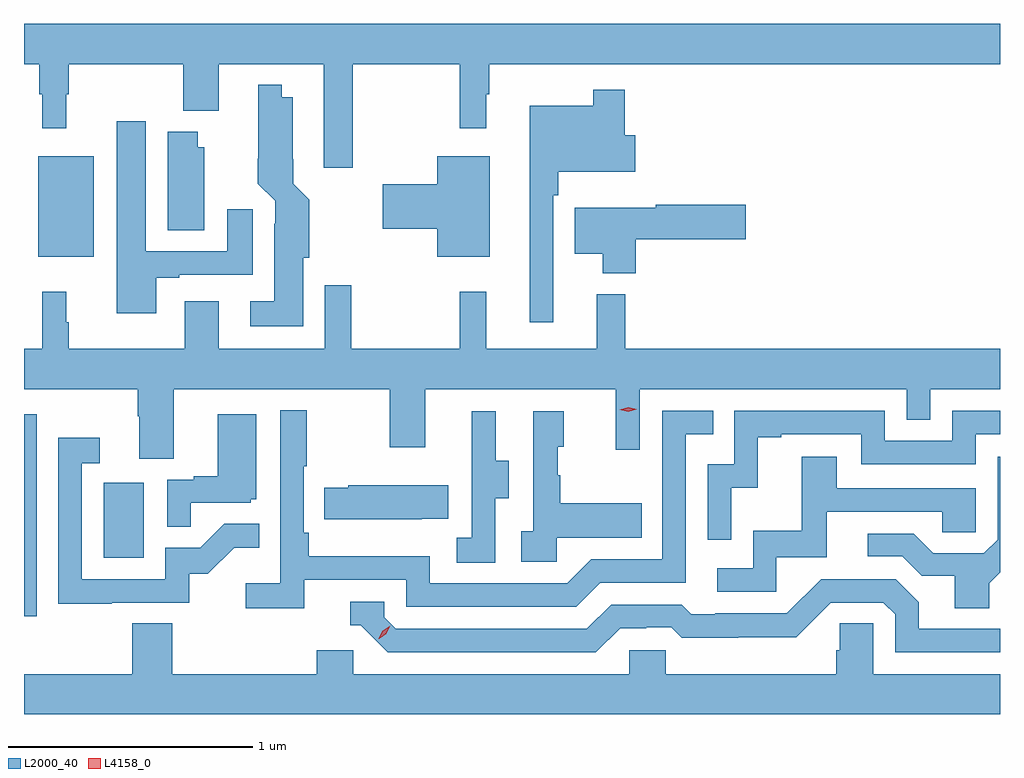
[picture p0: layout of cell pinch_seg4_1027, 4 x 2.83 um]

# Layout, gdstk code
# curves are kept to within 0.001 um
import gdstk
lib = gdstk.Library(unit=1e-6, precision=1e-09)
def R(c, l, rs):  # rectangles x0, y0, x1, y1
    for r in rs: c.add(gdstk.rectangle(r[:2], r[2:], *l))
def P(c, l, *ps):  # polygons
    for p in ps: c.add(gdstk.Polygon(p, *l))
L2000_40 = (2000, 40)
L4158_0 = (4158, 0)

pinch_seg4_1027 = lib.new_cell('pinch_seg4_1027')
R(pinch_seg4_1027, L2000_40, [(805.464,762.588,805.516,763.417), (805.79,762.828,805.954,763.135), (805.523,764.063,805.75,764.473)])
P(pinch_seg4_1027, L2000_40, [(806.811,764.852),(807.249,764.852),(807.249,764.589),(807.358,764.589),(807.358,764.729),(807.37,764.729),(807.37,764.852),(809.464,764.852),(809.464,765.016),(805.464,765.016),(805.464,764.852),(805.527,764.852),(805.527,764.729),(805.538,764.729),(805.538,764.589),(805.637,764.589),(805.637,764.729),(805.648,764.729),(805.648,764.852),(806.116,764.852),(806.116,764.66),(806.263,764.66),(806.263,764.852),(806.693,764.852),(806.693,764.427),(806.811,764.427)],
  [(806.608,764.058),(806.634,764.058),(806.634,764.295),(806.567,764.362),(806.566,764.716),(806.521,764.716),(806.521,764.767),(806.424,764.767),(806.423,764.362),(806.493,764.292),(806.493,764.198),(806.489,764.198),(806.489,763.879),(806.391,763.879),(806.391,763.778),(806.608,763.778)],
  [(807.633,764.315),(807.653,764.315),(807.653,764.411),(807.97,764.411),(807.97,764.559),(807.926,764.559),(807.926,764.746),(807.798,764.746),(807.798,764.68),(807.536,764.68),(807.536,763.794),(807.633,763.794)],
  [(806.005,763.977),(806.101,763.977),(806.101,763.989),(806.401,763.989),(806.401,764.257),(806.297,764.257),(806.297,764.085),(805.963,764.085),(805.963,764.617),(805.844,764.617),(805.844,763.83),(806.005,763.83)],
  [(806.203,764.511),(806.176,764.511),(806.176,764.575),(806.054,764.575),(806.054,764.17),(806.203,764.17)],
  [(807.373,764.473),(807.158,764.473),(807.158,764.36),(806.934,764.36),(806.934,764.177),(807.158,764.177),(807.158,764.063),(807.373,764.063)],
  [(807.971,764.134),(808.423,764.134),(808.423,764.276),(808.054,764.276),(808.054,764.263),(807.722,764.263),(807.722,764.075),(807.836,764.075),(807.836,763.994),(807.971,763.994)],
  [(807.929,763.909),(807.812,763.909),(807.812,763.684),(807.359,763.684),(807.359,763.918),(807.249,763.918),(807.249,763.684),(806.806,763.684),(806.806,763.945),(806.697,763.945),(806.697,763.684),(806.263,763.684),(806.263,763.879),(806.123,763.879),(806.123,763.684),(805.648,763.684),(805.648,763.793),(805.637,763.793),(805.637,763.918),(805.538,763.918),(805.538,763.684),(805.464,763.684),(805.464,763.52),(805.93,763.52),(805.93,763.408),(805.937,763.408),(805.937,763.234),(806.077,763.234),(806.077,763.52),(806.962,763.52),(806.962,763.281),(807.109,763.281),(807.109,763.52),(807.89,763.52),(807.89,763.272),(807.987,763.272),(807.987,763.52),(809.082,763.52),(809.082,763.393),(809.178,763.393),(809.178,763.52),(809.464,763.52),(809.464,763.684),(807.929,763.684)],
  [(806.612,762.738),(807.03,762.738),(807.03,762.627),(807.727,762.627),(807.826,762.726),(808.176,762.726),(808.176,763.335),(808.289,763.335),(808.289,763.431),(808.08,763.431),(808.08,762.822),(807.789,762.822),(807.69,762.723),(807.126,762.723),(807.126,762.835),(806.63,762.835),(806.63,762.931),(806.61,762.931),(806.61,763.204),(806.623,763.204),(806.623,763.432),(806.514,763.432),(806.514,762.724),(806.373,762.724),(806.373,762.622),(806.612,762.622)],
  [(808.362,763.115),(808.472,763.115),(808.472,763.323),(808.567,763.323),(808.567,763.335),(808.896,763.335),(808.896,763.212),(809.364,763.212),(809.364,763.335),(809.464,763.335),(809.464,763.431),(809.268,763.431),(809.268,763.308),(808.992,763.308),(808.992,763.431),(808.374,763.431),(808.374,763.212),(808.266,763.212),(808.266,762.903),(808.362,762.903)],
  [(807.648,762.911),(807.995,762.911),(807.995,763.051),(807.661,763.051),(807.661,763.166),(807.651,763.166),(807.651,763.284),(807.676,763.284),(807.676,763.429),(807.552,763.429),(807.552,762.938),(807.501,762.938),(807.501,762.813),(807.648,762.813)],
  [(807.396,763.072),(807.451,763.072),(807.451,763.227),(807.397,763.227),(807.397,763.429),(807.299,763.429),(807.299,763.215),(807.3,763.215),(807.3,762.911),(807.237,762.911),(807.237,762.808),(807.396,762.808)],
  [(806.147,763.053),(806.394,763.053),(806.394,763.068),(806.416,763.068),(806.416,763.417),(806.258,763.417),(806.258,763.162),(806.159,763.162),(806.159,763.149),(806.052,763.149),(806.052,762.955),(806.147,762.955)],
  [(805.823,762.645),(806.142,762.645),(806.142,762.762),(806.218,762.762),(806.325,762.869),(806.429,762.869),(806.429,762.968),(806.285,762.968),(806.187,762.87),(806.043,762.87),(806.043,762.741),(805.701,762.741),(805.701,763.215),(805.774,763.215),(805.774,763.321),(805.605,763.321),(805.605,762.64),(805.823,762.64)],
  [(809.419,762.724),(809.464,762.769),(809.464,763.243),(809.454,763.243),(809.454,762.903),(809.397,762.846),(809.191,762.846),(809.11,762.927),(808.923,762.927),(808.923,762.834),(809.064,762.834),(809.144,762.754),(809.279,762.754),(809.279,762.622),(809.419,762.622)],
  [(808.548,762.831),(808.753,762.831),(808.753,763.017),(809.227,763.017),(809.227,762.933),(809.364,762.933),(809.364,763.113),(808.795,763.113),(808.795,763.243),(808.651,763.243),(808.651,762.94),(808.452,762.94),(808.452,762.786),(808.305,762.786),(808.305,762.69),(808.548,762.69)],
  [(807.095,762.989),(807.203,762.989),(807.203,763.126),(806.793,763.126),(806.793,763.116),(806.695,763.116),(806.695,762.986),(807.095,762.986)],
  [(807.907,762.54),(808.014,762.54),(808.014,762.543),(808.117,762.543),(808.159,762.501),(808.392,762.501),(808.392,762.503),(808.628,762.503),(808.77,762.645),(808.986,762.645),(809.034,762.597),(809.034,762.441),(809.464,762.441),(809.464,762.537),(809.131,762.537),(809.131,762.647),(809.037,762.741),(808.731,762.741),(808.59,762.6),(808.297,762.6),(808.297,762.597),(808.198,762.597),(808.159,762.636),(807.87,762.636),(807.771,762.537),(806.988,762.537),(806.94,762.585),(806.94,762.648),(806.801,762.648),(806.801,762.552),(806.844,762.552),(806.955,762.441),(807.808,762.441)],
  [(809.464,762.352),(808.944,762.352),(808.944,762.56),(808.807,762.56),(808.807,762.45),(808.793,762.45),(808.793,762.352),(808.095,762.352),(808.095,762.45),(807.945,762.45),(807.945,762.352),(806.814,762.352),(806.814,762.45),(806.663,762.45),(806.663,762.352),(806.072,762.352),(806.072,762.56),(805.907,762.56),(805.907,762.352),(805.464,762.352),(805.464,762.188),(809.464,762.188)])
P(pinch_seg4_1027, L4158_0, [(807.94,763.426),(807.905,763.435),(807.904,763.435),(807.905,763.435),(807.94,763.446),(807.975,763.437),(807.975,763.437),(807.975,763.437)],
  [(806.918,762.497),(806.918,762.498),(806.934,762.53),(806.965,762.55),(806.965,762.55),(806.965,762.55),(806.949,762.517),(806.919,762.497)])

lib.write_gds('pinch_seg4_1027.gds')
